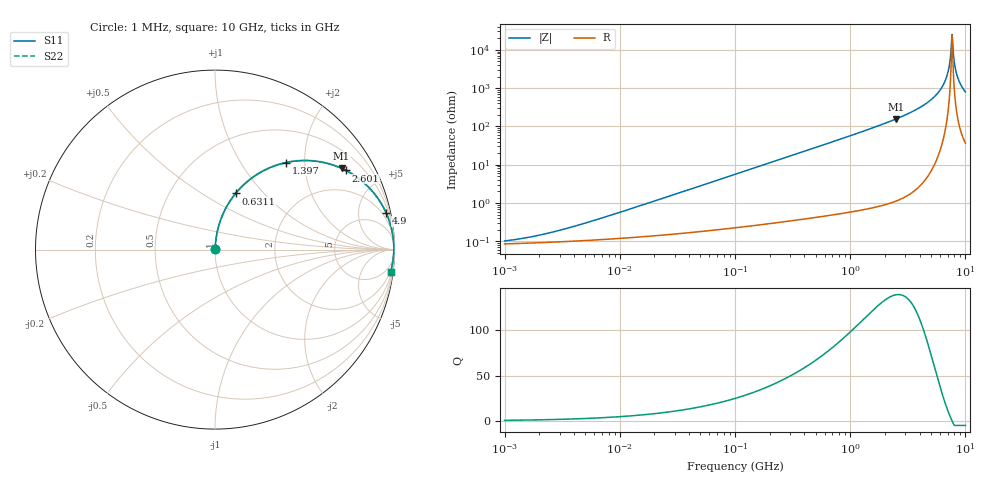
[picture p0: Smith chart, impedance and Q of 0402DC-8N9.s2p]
# MHz  S  MA  R  50
!Freq  MagS11  AngS11  MagS21  AngS21  MagS12  AngS12  MagS22  AngS22
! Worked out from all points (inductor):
!   801 points, 1 MHz to 10 GHz, reference 50 ohm
!   read as one part in series: L = 8.9 nH near 5.755 MHz
!   highest Q = 139 at 2.484 GHz (marker M1), where L = 9.95 nH
!   self-resonance near 7.589 GHz
!   S11 on the Smith chart (normalised r, x): 1 MHz: 1.00, +0.00; 631.1 MHz: 1.01, +0.71; 1.397 GHz: 1.01, +1.62; 2.601 GHz: 1.02, +3.29; 4.9 GHz: 1.12, +9.27; 10 GHz: 2, -16
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1  0.001021 33.2  0.9991 -0.0  0.9991 -0.0  0.001021 33.2
2.041806  0.001466 51.0  0.9991 -0.1  0.9991 -0.1  0.001466 51.0
4.67769  0.00281 68.3  0.999 -0.1  0.999 -0.1  0.00281 68.3
21.6303  0.01216 82.6  0.9985 -0.7  0.9985 -0.7  0.01216 82.6
100.0216  0.05577 84.5  0.9962 -3.2  0.9962 -3.2  0.05577 84.5
467.8699  0.2531 74.5  0.9635 -14.7  0.9635 -14.7  0.2531 74.5
631.148  0.3335 69.8  0.9384 -19.5  0.9384 -19.5  0.3335 69.8
1396.842  0.6259 50.8  0.7746 -38.7  0.7746 -38.7  0.6259 50.8
2163.497  0.7931 37.1  0.6033 -52.5  0.6033 -52.5  0.7931 37.1
2484.043  0.8379 32.7  0.5398 -56.9  0.5398 -56.9  0.8379 32.7
2601.118  0.8517 31.2  0.518 -58.4  0.518 -58.4  0.8517 31.2
4899.739  0.975 12.1  0.2103 -77.1  0.2103 -77.1  0.975 12.1
5823.397  0.9889 7.4  0.1282 -81.3  0.1282 -81.3  0.9889 7.4
6533.995  0.9941 4.3  0.07422 -83.3  0.07422 -83.3  0.9941 4.3
7001.324  0.9957 2.4  0.04205 -82.9  0.04205 -82.9  0.9957 2.4
7416.199  0.9962 0.9  0.01555 -75.4  0.01555 -75.4  0.9962 0.9
7676.832  0.9961 -0.1  0.003972 13.8  0.003972 13.8  0.9961 -0.1
7946.626  0.9958 -1.0  0.01748 75.7  0.01748 75.7  0.9958 -1.0
8225.901  0.9952 -1.9  0.03334 80.8  0.03334 80.8  0.9952 -1.9
8613.594  0.994 -3.1  0.05468 82.1  0.05468 82.1  0.994 -3.1
9229.662  0.9912 -5.0  0.08681 81.7  0.08681 81.7  0.9912 -5.0
10000  0.9865 -7.1  0.1243 80.2  0.1243 80.2  0.9865 -7.1
